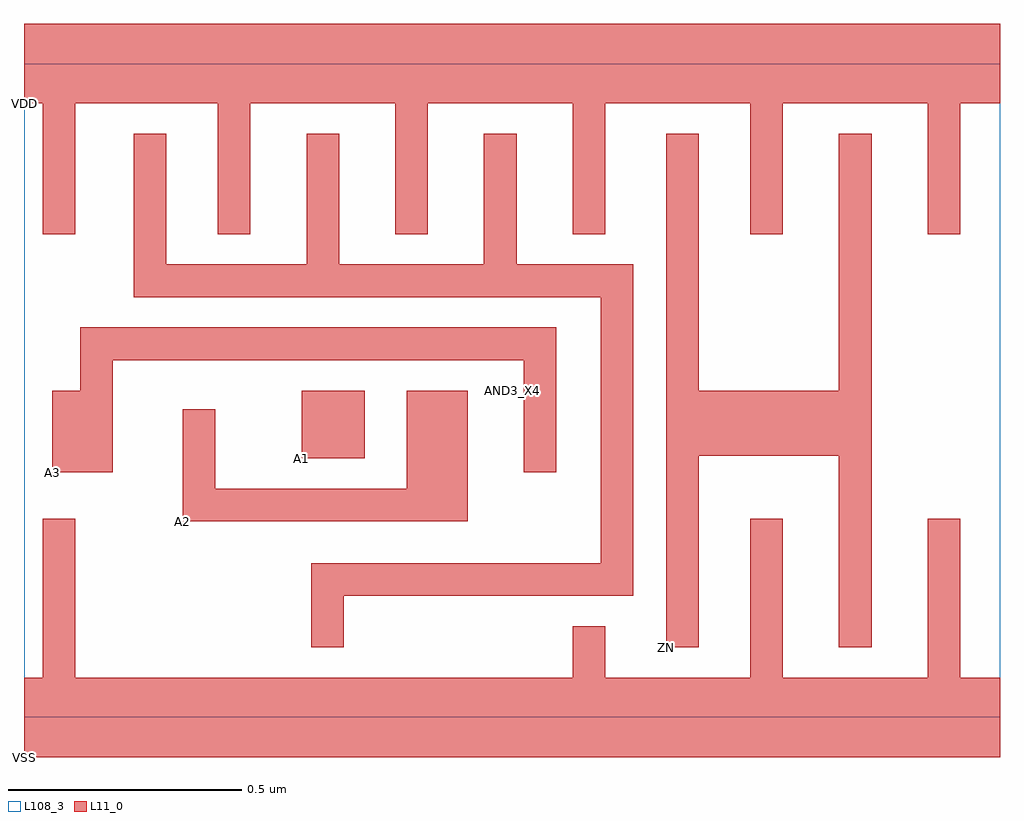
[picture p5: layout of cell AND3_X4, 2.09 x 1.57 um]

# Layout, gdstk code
import gdstk
lib = gdstk.Library(unit=1e-6, precision=1e-09)
def R(c, l, rs):  # rectangles x0, y0, x1, y1
    for r in rs: c.add(gdstk.rectangle(r[:2], r[2:], *l))
def P(c, l, *ps):  # polygons
    for p in ps: c.add(gdstk.Polygon(p, *l))
L11_0 = (11, 0)
L108_3 = (108, 3)

and3_x4 = lib.new_cell('AND3_X4')
R(and3_x4, L11_0, [(0.595,0.555,0.73,0.7)])
P(and3_x4, L11_0, [(0.34,0.42),(0.95,0.42),(0.95,0.7),(0.82,0.7),(0.82,0.49),(0.41,0.49),(0.41,0.66),(0.34,0.66)],
  [(0.06,0.525),(0.19,0.525),(0.19,0.765),(1.07,0.765),(1.07,0.525),(1.14,0.525),(1.14,0.835),(0.12,0.835),(0.12,0.7),(0.06,0.7)],
  [(1.375,0.15),(1.445,0.15),(1.445,0.56),(1.745,0.56),(1.745,0.15),(1.815,0.15),(1.815,1.25),(1.745,1.25),(1.745,0.7),(1.445,0.7),(1.445,1.25),(1.375,1.25)],
  [(0,1.315),(0.04,1.315),(0.04,1.035),(0.11,1.035),(0.11,1.315),(0.415,1.315),(0.415,1.035),(0.485,1.035),(0.485,1.315),(0.795,1.315),(0.795,1.035),(0.865,1.035),(0.865,1.315),(1.175,1.315),(1.175,1.035),(1.245,1.035),(1.245,1.315),(1.305,1.315),(1.555,1.315),(1.555,1.035),(1.625,1.035),(1.625,1.315),(1.935,1.315),(1.935,1.035),(2.005,1.035),(2.005,1.315),(2.09,1.315),(2.09,1.485),(1.305,1.485),(0,1.485)],
  [(0,-0.085),(2.09,-0.085),(2.09,0.085),(2.005,0.085),(2.005,0.425),(1.935,0.425),(1.935,0.085),(1.625,0.085),(1.625,0.425),(1.555,0.425),(1.555,0.085),(1.245,0.085),(1.245,0.195),(1.175,0.195),(1.175,0.085),(0.11,0.085),(0.11,0.425),(0.04,0.425),(0.04,0.085),(0,0.085)],
  [(0.235,0.9),(1.235,0.9),(1.235,0.33),(0.615,0.33),(0.615,0.15),(0.685,0.15),(0.685,0.26),(1.305,0.26),(1.305,0.97),(1.055,0.97),(1.055,1.25),(0.985,1.25),(0.985,0.97),(0.675,0.97),(0.675,1.25),(0.605,1.25),(0.605,0.97),(0.305,0.97),(0.305,1.25),(0.235,1.25)])
R(and3_x4, L108_3, [(0,0,2.09,1.4)])
and3_x4.add(gdstk.Label('AND3_X4', (1.045,0.7), layer=108, texttype=3))
and3_x4.add(gdstk.Label('A1', (0.595,0.555), layer=11, texttype=0))
and3_x4.add(gdstk.Label('A2', (0.34,0.42), layer=11, texttype=0))
and3_x4.add(gdstk.Label('A3', (0.06,0.525), layer=11, texttype=0))
and3_x4.add(gdstk.Label('ZN', (1.375,0.15), layer=11, texttype=0))
and3_x4.add(gdstk.Label('VDD', (0,1.315), layer=11, texttype=0))
and3_x4.add(gdstk.Label('VSS', (0,-0.085), layer=11, texttype=0))

lib.write_gds('AND3_X4.gds')
